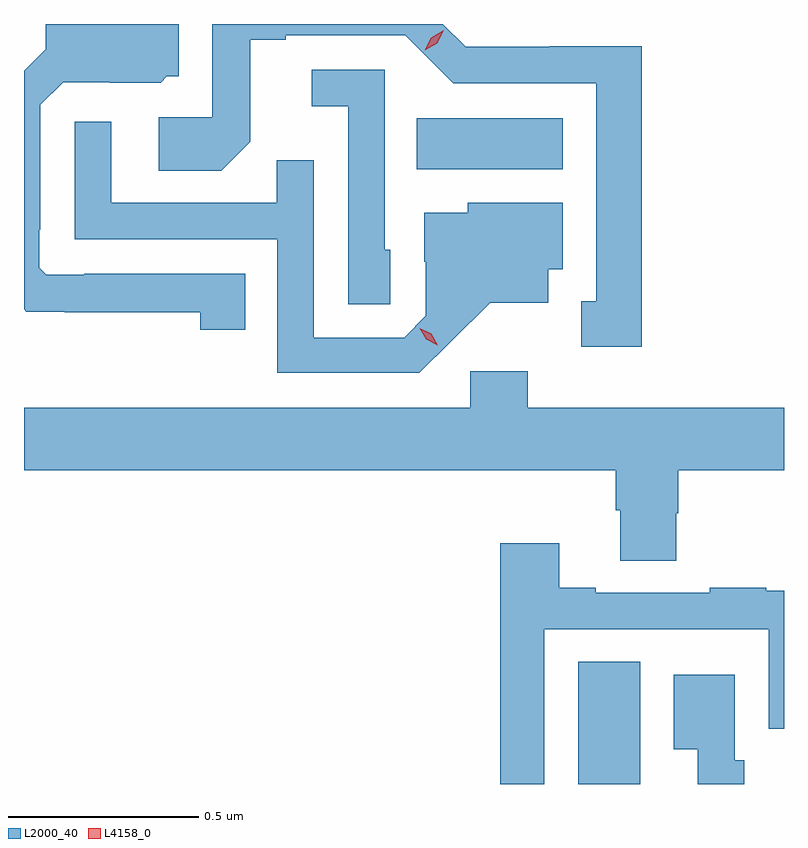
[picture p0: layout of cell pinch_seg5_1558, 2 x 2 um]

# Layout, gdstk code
import gdstk
lib = gdstk.Library(unit=1e-6, precision=1e-09)
def R(c, l, rs):  # rectangles x0, y0, x1, y1
    for r in rs: c.add(gdstk.rectangle(r[:2], r[2:], *l))
def P(c, l, *ps):  # polygons
    for p in ps: c.add(gdstk.Polygon(p, *l))
L2000_40 = (2000, 40)
L4158_0 = (4158, 0)

pinch_seg5_1558 = lib.new_cell('pinch_seg5_1558')
R(pinch_seg5_1558, L2000_40, [(315.614,854.602,315.778,854.924), (315.19,856.22,315.574,856.354)])
P(pinch_seg5_1558, L2000_40, [(315.781,856.544),(315.54,856.544),(315.54,856.542),(315.318,856.542),(315.258,856.602),(314.652,856.602),(314.652,856.356),(314.511,856.356),(314.511,856.216),(314.675,856.216),(314.751,856.292),(314.751,856.56),(314.845,856.56),(314.845,856.572),(315.159,856.572),(315.285,856.446),(315.662,856.446),(315.662,855.873),(315.623,855.873),(315.623,855.753),(315.781,855.753)],
  [(314.738,855.945),(314.314,855.945),(314.314,855.942),(314.214,855.942),(314.196,855.96),(314.196,856.06),(314.199,856.06),(314.199,856.389),(314.259,856.449),(314.382,856.449),(314.382,856.448),(314.516,856.448),(314.532,856.464),(314.563,856.464),(314.563,856.602),(314.213,856.602),(314.213,856.536),(314.156,856.479),(314.156,855.851),(314.162,855.845),(314.263,855.845),(314.263,855.844),(314.62,855.844),(314.62,855.798),(314.738,855.798)],
  [(315.12,856.008),(315.105,856.008),(315.105,856.482),(314.913,856.482),(314.913,856.385),(315.009,856.385),(315.009,855.865),(315.12,855.865)],
  [(315.28,855.767),(315.383,855.869),(315.535,855.869),(315.535,855.956),(315.574,855.956),(315.574,856.132),(315.324,856.132),(315.324,856.105),(315.209,856.105),(315.209,855.976),(315.213,855.976),(315.213,855.834),(315.156,855.777),(314.919,855.777),(314.919,856.244),(314.821,856.244),(314.821,856.131),(314.385,856.131),(314.385,856.345),(314.289,856.345),(314.289,856.035),(314.823,856.035),(314.823,855.684),(315.196,855.684)],
  [(315.873,855.315),(315.878,855.315),(315.878,855.428),(316.156,855.428),(316.156,855.592),(315.482,855.592),(315.482,855.688),(315.33,855.688),(315.33,855.592),(314.156,855.592),(314.156,855.428),(315.713,855.428),(315.713,855.322),(315.725,855.322),(315.725,855.19),(315.873,855.19)],
  [(315.525,855.009),(316.116,855.009),(316.116,854.748),(316.156,854.748),(316.156,855.111),(316.109,855.111),(316.109,855.118),(315.961,855.118),(315.961,855.105),(315.661,855.105),(315.661,855.118),(315.565,855.118),(315.565,855.235),(315.409,855.235),(315.409,854.602),(315.525,854.602)],
  [(316.051,854.664),(316.027,854.664),(316.027,854.89),(315.866,854.89),(315.866,854.693),(315.929,854.693),(315.929,854.602),(316.051,854.602)])
P(pinch_seg5_1558, L4158_0, [(315.211,856.533),(315.211,856.533),(315.228,856.566),(315.26,856.585),(315.26,856.585),(315.26,856.585),(315.243,856.552),(315.211,856.533)],
  [(315.245,855.757),(315.215,855.772),(315.198,855.802),(315.198,855.802),(315.198,855.802),(315.228,855.787),(315.245,855.757),(315.245,855.757)])

lib.write_gds('pinch_seg5_1558.gds')
